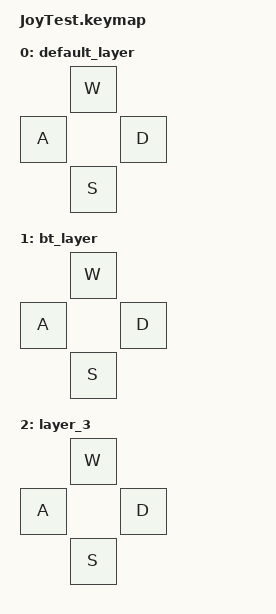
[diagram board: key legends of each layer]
#include <behaviors.dtsi>
#include <dt-bindings/zmk/keys.h>
#include <dt-bindings/zmk/bt.h>
#include <dt-bindings/zmk/pointing.h>


/ {

  keymap {
        compatible = "zmk,keymap";

        default_layer {
            bindings = < 
              &kp A     &kp W     &kp D     &kp S
            >;
        };

        bt_layer {
            bindings = <
                &kp A     &kp W     &kp D     &kp S
            >;
        };

        layer_3 {
            bindings = <
              &kp A     &kp W     &kp D     &kp S
            >;
        };
    };
};
